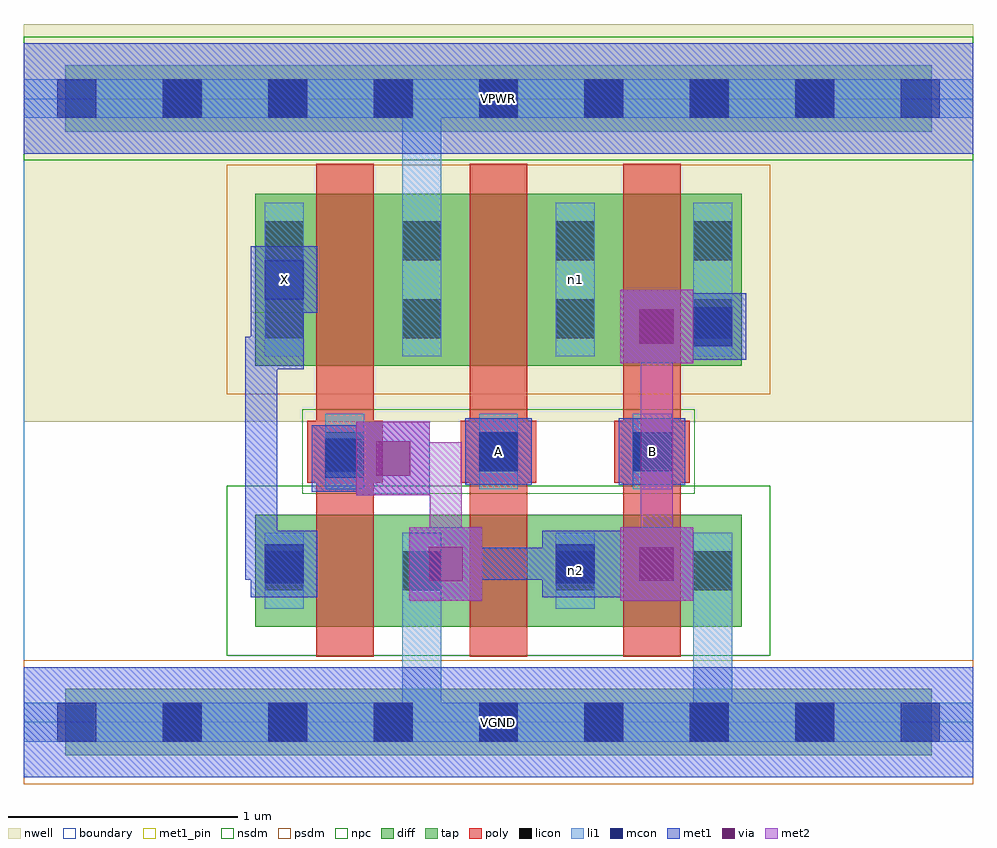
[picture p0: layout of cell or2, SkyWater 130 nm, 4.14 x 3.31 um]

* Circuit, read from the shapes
.subckt or2 A B VGND VPWR X n1 n2
XM1 VGND n2 X VGND sky130_fd_pr__nfet_01v8 w=0.49 l=0.25
XM2 n2 A VGND VGND sky130_fd_pr__nfet_01v8 w=0.49 l=0.25
XM3 VGND B n2 VGND sky130_fd_pr__nfet_01v8 w=0.49 l=0.25
XM4 VPWR n2 X VPWR sky130_fd_pr__pfet_01v8 w=0.75 l=0.25
XM5 n1 A VPWR VPWR sky130_fd_pr__pfet_01v8 w=0.75 l=0.25
XM6 n2 B n1 VPWR sky130_fd_pr__pfet_01v8 w=0.75 l=0.25
.ends

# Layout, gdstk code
import gdstk
lib = gdstk.Library(unit=1e-6, precision=1e-09)
def R(c, l, rs):  # rectangles x0, y0, x1, y1
    for r in rs: c.add(gdstk.rectangle(r[:2], r[2:], *l))
def A(c, l, x, y, w, h, nx, ny, dx, dy):  # array of equal rectangles
    R(c, l, [(x+i*dx, y+j*dy, x+i*dx+w, y+j*dy+h) for i in range(nx) for j in range(ny)])
nwell = (64, 20)
diff = (65, 20)
tap = (65, 44)
poly = (66, 20)
licon = (66, 44)
li1 = (67, 20)
mcon = (67, 44)
met1_pin = (68, 16)
met1 = (68, 20)
via = (68, 44)
met2 = (69, 20)
nsdm = (93, 44)
psdm = (94, 20)
npc = (95, 20)
boundary = (235, 4)

or2 = lib.new_cell('or2')
R(or2, nwell, [(0,1.31,4.14,3.045)])
R(or2, diff, [(1.01,0.415,3.13,0.905), (1.01,1.555,3.13,2.305)])
R(or2, tap, [(0.18,-0.145,3.96,0.145), (0.18,2.575,3.96,2.865)])
A(or2, poly, 1.275, 0.285, 0.25, 2.15, 3, 1, 0.67, 0)
A(or2, poly, 1.235, 1.045, 0.33, 0.27, 3, 1, 0.67, 0)
A(or2, licon, 0.605, -0.085, 0.17, 0.17, 7, 2, 0.46, 2.72)
A(or2, licon, 1.315, 1.095, 0.17, 0.17, 3, 1, 0.67, 0)
R(or2, licon, [(1.05,0.575,1.22,0.745), (1.65,0.575,1.82,0.745), (2.32,0.575,2.49,0.745), (2.92,0.575,3.09,0.745), (1.05,1.675,1.22,1.845), (1.65,1.675,1.82,1.845), (2.32,1.675,2.49,1.845), (2.92,1.675,3.09,1.845), (1.05,2.015,1.22,2.185), (1.65,2.015,1.82,2.185), (2.32,2.015,2.49,2.185), (2.92,2.015,3.09,2.185)])
A(or2, li1, 1.315, 1.015, 0.17, 0.33, 3, 1, 0.67, 0)
R(or2, li1, [(0,-0.085,4.14,0.085), (1.65,-0.085,1.82,0.825), (2.92,-0.085,3.09,0.825), (1.05,0.495,1.22,0.825), (1.65,0.495,1.82,0.825), (2.32,0.495,2.49,0.825), (2.92,0.495,3.09,0.825), (1.05,1.595,1.22,2.265), (1.65,1.595,1.82,2.265), (1.65,1.595,1.82,2.805), (2.32,1.595,2.49,2.265), (2.92,1.595,3.09,2.265), (0,2.635,4.14,2.805)])
A(or2, mcon, 0.145, -0.085, 0.17, 0.17, 9, 2, 0.46, 2.72)
R(or2, mcon, [(1.05,0.605,1.22,0.775), (2.32,0.605,2.49,0.775), (1.315,1.065,1.485,1.235), (1.985,1.095,2.155,1.265), (2.655,1.095,2.825,1.265), (2.92,1.64,3.09,1.81), (1.05,1.845,1.22,2.015)])
R(or2, met1_pin, [(0,-0.24,4.14,0.24), (1.925,1.035,2.215,1.325), (2.595,1.035,2.885,1.325), (0.99,1.785,1.28,2.075), (0,2.48,4.14,2.96)])
R(or2, met1, [(0,-0.24,4.14,0.24), (1.68,0.53,2,0.85), (2.6,0.53,2.92,0.85), (0.99,0.545,1.28,0.835), (2.26,0.545,2.55,0.835), (2.55,0.545,2.6,0.835), (0.965,0.62,1.205,0.76), (0.965,0.62,1.105,1.68), (1.77,0.62,2.37,0.76), (2.23,0.62,2.475,0.76), (2.23,0.62,2.83,0.76), (1.45,0.99,1.77,1.31), (1.255,1.005,1.545,1.295), (1.925,1.035,2.215,1.325), (2.595,1.035,2.885,1.325), (1.33,1.08,1.565,1.22), (1.425,1.08,1.68,1.22), (0.965,1.54,1.22,1.68), (1.08,1.54,1.22,2.025), (2.6,1.565,2.92,1.885), (2.86,1.58,3.15,1.87), (2.69,1.655,2.945,1.795), (2.805,1.655,3.075,1.795), (0.99,1.68,1.22,1.785), (0.99,1.68,1.105,1.785), (0.99,1.785,1.28,2.075), (1.08,1.885,1.22,2.025), (0,2.48,4.14,2.96)])
R(or2, via, [(1.765,0.615,1.915,0.765), (2.685,0.615,2.835,0.765), (1.535,1.075,1.685,1.225), (2.685,1.65,2.835,1.8)])
R(or2, met2, [(1.68,0.53,2,0.85), (2.6,0.53,2.92,0.85), (1.77,0.62,1.91,1.22), (2.69,0.62,2.83,1.795), (1.45,0.99,1.77,1.31), (1.54,1.08,1.91,1.22), (2.6,1.565,2.92,1.885)])
R(or2, nsdm, [(0.885,0.29,3.255,1.03), (0,2.45,4.14,2.99)])
R(or2, psdm, [(0,-0.27,4.14,0.27), (0.885,1.43,3.255,2.43)])
R(or2, npc, [(1.215,0.995,2.925,1.365)])
R(or2, boundary, [(0,0,4.14,2.72)])
or2.add(gdstk.Label('n2', (2.405,0.66), layer=67, texttype=5))
or2.add(gdstk.Label('n1', (2.405,1.93), layer=67, texttype=5))
or2.add(gdstk.Label('A', (2.07,1.18), layer=68, texttype=5))
or2.add(gdstk.Label('B', (2.74,1.18), layer=68, texttype=5))
or2.add(gdstk.Label('X', (1.135,1.93), layer=68, texttype=5))
or2.add(gdstk.Label('VPWR', (2.07,2.72), layer=68, texttype=5))
or2.add(gdstk.Label('VGND', (2.07,0), layer=68, texttype=5))
or2.add(gdstk.Label('A', (2.07,1.18), layer=68, texttype=16))
or2.add(gdstk.Label('B', (2.74,1.18), layer=68, texttype=16))
or2.add(gdstk.Label('X', (1.135,1.93), layer=68, texttype=16))
or2.add(gdstk.Label('VPWR', (2.07,2.72), layer=68, texttype=16))
or2.add(gdstk.Label('VGND', (2.07,0), layer=68, texttype=16))

lib.write_gds('or2.gds')
